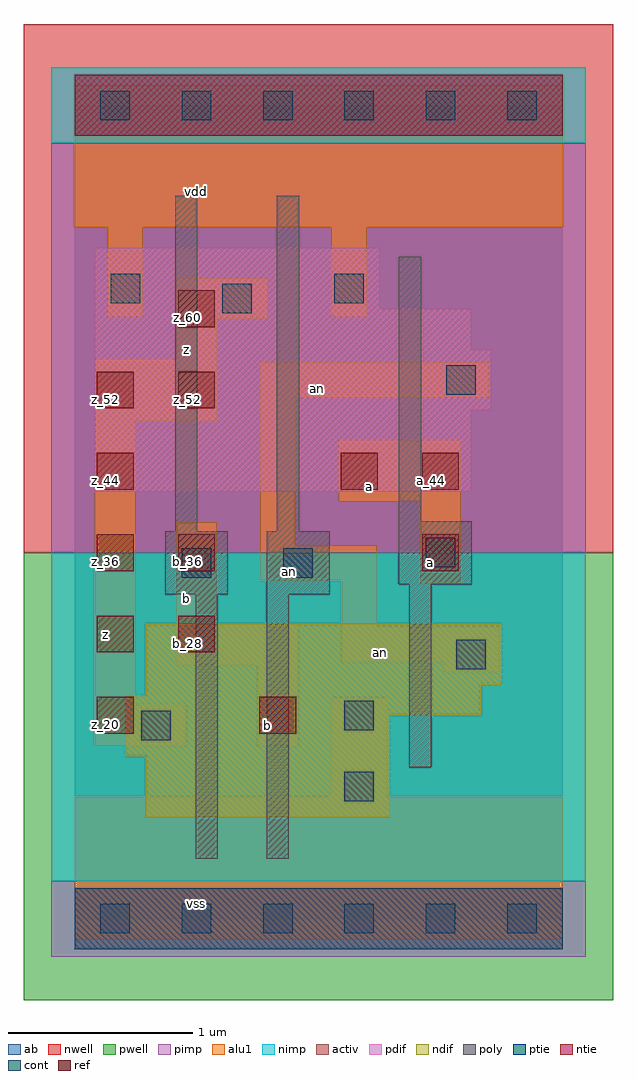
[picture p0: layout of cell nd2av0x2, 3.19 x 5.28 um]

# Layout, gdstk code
import gdstk
lib = gdstk.Library(unit=1e-6, precision=2.5e-09)
def R(c, l, rs):  # rectangles x0, y0, x1, y1
    for r in rs: c.add(gdstk.rectangle(r[:2], r[2:], *l))
def A(c, l, x, y, w, h, nx, ny, dx, dy):  # array of equal rectangles
    R(c, l, [(x+i*dx, y+j*dy, x+i*dx+w, y+j*dy+h) for i in range(nx) for j in range(ny)])
ndif = (3, 0)
pdif = (4, 0)
ntie = (5, 0)
ptie = (6, 0)
ref = (24, 0)
cont = (25, 0)
pwell = (41, 0)
nwell = (42, 0)
activ = (43, 0)
pimp = (44, 0)
nimp = (45, 0)
poly = (46, 0)
alu1 = (49, 0)
ab = (63, 0)

nd2av0x2 = lib.new_cell('nd2av0x2')
R(nd2av0x2, ndif, [(0.385,0.55,1.705,0.88), (0.275,0.88,1.705,1.1), (0.275,1.1,2.2,1.21), (0.385,1.21,2.2,1.265), (0.385,1.265,2.31,1.595)])
R(nd2av0x2, pdif, [(0.11,2.31,2.145,2.75), (0.11,2.75,2.255,3.08), (0.11,3.08,2.145,3.3), (0.11,3.3,1.65,3.63)])
R(nd2av0x2, ntie, [(0,4.235,2.64,4.565)])
R(nd2av0x2, ptie, [(0,-0.165,2.64,0.165)])
A(nd2av0x2, ref, 0.12, 1, 0.2, 0.2, 1, 5, 0, 0.44)
R(nd2av0x2, ref, [(1,1,1.2,1.2), (0.56,1.44,0.76,1.64), (0.56,1.88,0.76,2.08), (1.88,1.88,2.08,2.08), (1.44,2.32,1.64,2.52), (1.88,2.32,2.08,2.52), (0.56,2.76,0.76,2.96), (0.56,3.2,0.76,3.4)])
A(nd2av0x2, cont, 0.14, -0.08, 0.16, 0.16, 6, 2, 0.44, 4.4)
R(nd2av0x2, cont, [(1.46,0.635,1.62,0.795), (0.36,0.965,0.52,1.125), (1.46,1.02,1.62,1.18), (2.065,1.35,2.225,1.51), (0.58,1.845,0.74,2.005), (1.13,1.845,1.29,2.005), (1.9,1.9,2.06,2.06), (2.01,2.835,2.17,2.995), (0.8,3.275,0.96,3.435), (0.195,3.33,0.355,3.49), (1.405,3.33,1.565,3.49)])
R(nd2av0x2, pwell, [(-0.275,-0.44,2.915,1.98)])
R(nd2av0x2, nwell, [(-0.275,1.98,2.915,4.84)])
R(nd2av0x2, activ, [(0,-0.165,2.64,0.165), (0.385,0.55,1.705,0.88), (0.275,0.88,1.705,1.1), (0.275,1.1,2.2,1.21), (0.385,1.21,2.2,1.265), (0.385,1.265,2.31,1.595), (0.11,2.31,2.145,2.75), (0.11,2.75,2.255,3.08), (0.11,3.08,2.145,3.3), (0.11,3.3,1.65,3.63), (0,4.235,2.64,4.565)])
R(nd2av0x2, pimp, [(-0.125,-0.205,2.765,0.205), (-0.125,1.98,2.765,4.195)])
R(nd2av0x2, nimp, [(-0.125,0.205,2.765,1.98), (-0.125,4.195,2.765,4.605)])
R(nd2av0x2, poly, [(0.655,0.325,0.775,1.755), (1.04,0.325,1.16,1.755), (1.81,0.82,1.93,1.81), (0.49,1.755,0.83,2.095), (1.04,1.755,1.38,2.095), (1.755,1.81,2.15,2.15), (0.545,2.095,0.665,3.91), (1.095,2.095,1.215,3.91), (1.755,2.15,1.875,3.58)])
R(nd2av0x2, alu1, [(0,-0.11,2.64,0.66), (1.39,0.66,1.69,1.195), (0.11,0.935,0.605,1.155), (0.99,0.935,1.21,1.375), (0.11,1.155,0.33,2.695), (1.995,1.335,2.295,1.39), (0.55,1.375,1.21,1.595), (1.445,1.39,2.295,1.58), (1.445,1.58,1.635,1.83), (0.55,1.595,0.77,2.145), (1.87,1.815,2.09,2.255), (1.005,1.83,1.635,2.02), (1.005,2.02,1.195,2.82), (1.43,2.255,2.09,2.585), (0.11,2.695,0.77,3.025), (1.005,2.82,2.24,3.01), (0.55,3.025,0.77,3.245), (0.55,3.245,1.045,3.465), (0.18,3.26,0.37,3.74), (1.39,3.26,1.58,3.74), (0,3.74,2.64,4.51)])
R(nd2av0x2, ab, [(0,0,2.64,4.4)])
nd2av0x2.add(gdstk.Label('vss', (0.66,0.0825), layer=49, texttype=0))
nd2av0x2.add(gdstk.Label('b', (1.045,1.045), layer=49, texttype=0))
nd2av0x2.add(gdstk.Label('an', (1.6575,1.4375), layer=49, texttype=0))
nd2av0x2.add(gdstk.Label('a', (1.925,1.925), layer=49, texttype=0))
nd2av0x2.add(gdstk.Label('an', (1.1625,1.8775), layer=49, texttype=0))
nd2av0x2.add(gdstk.Label('a', (1.595,2.3375), layer=49, texttype=0))
nd2av0x2.add(gdstk.Label('b', (0.605,1.7325), layer=49, texttype=0))
nd2av0x2.add(gdstk.Label('z', (0.165,1.54), layer=49, texttype=0))
nd2av0x2.add(gdstk.Label('an', (1.3125,2.8675), layer=49, texttype=0))
nd2av0x2.add(gdstk.Label('z', (0.605,3.08), layer=49, texttype=0))
nd2av0x2.add(gdstk.Label('vdd', (0.66,3.9325), layer=49, texttype=0))
nd2av0x2.add(gdstk.Label('b_28', (0.61,1.49), layer=24, texttype=0))
nd2av0x2.add(gdstk.Label('b_36', (0.61,1.93), layer=24, texttype=0))
nd2av0x2.add(gdstk.Label('z_52', (0.61,2.81), layer=24, texttype=0))
nd2av0x2.add(gdstk.Label('z_60', (0.61,3.25), layer=24, texttype=0))
nd2av0x2.add(gdstk.Label('b_20', (1.05,1.05), layer=24, texttype=0))
nd2av0x2.add(gdstk.Label('a_44', (1.49,2.37), layer=24, texttype=0))
nd2av0x2.add(gdstk.Label('a_36', (1.93,1.93), layer=24, texttype=0))
nd2av0x2.add(gdstk.Label('a_44', (1.93,2.37), layer=24, texttype=0))
nd2av0x2.add(gdstk.Label('z_20', (0.17,1.05), layer=24, texttype=0))
nd2av0x2.add(gdstk.Label('z_28', (0.17,1.49), layer=24, texttype=0))
nd2av0x2.add(gdstk.Label('z_36', (0.17,1.93), layer=24, texttype=0))
nd2av0x2.add(gdstk.Label('z_44', (0.17,2.37), layer=24, texttype=0))
nd2av0x2.add(gdstk.Label('z_52', (0.17,2.81), layer=24, texttype=0))

lib.write_gds('nd2av0x2.gds')
